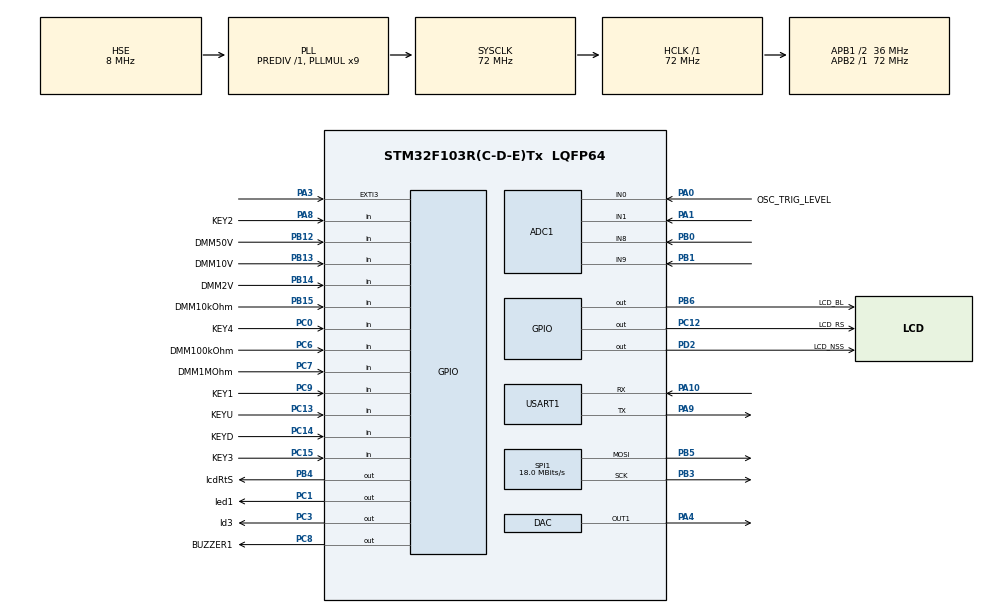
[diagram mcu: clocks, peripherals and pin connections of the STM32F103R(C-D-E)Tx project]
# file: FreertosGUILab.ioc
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ADC1.Channel-1\#ChannelInjectedConversion=ADC_CHANNEL_9
ADC1.Channel-2\#ChannelInjectedConversion=ADC_CHANNEL_VREFINT
ADC1.Channel-3\#ChannelInjectedConversion=ADC_CHANNEL_8
ADC1.Channel-4\#ChannelInjectedConversion=ADC_CHANNEL_0
ADC1.Channel-5\#ChannelRegularConversion=ADC_CHANNEL_1
ADC1.EnableInjectedConversion=ENABLE
ADC1.EnableRegularConversion=ENABLE
ADC1.ExternalTrigConv=ADC_EXTERNALTRIGCONV_T3_TRGO
ADC1.ExternalTrigInjecConv=ADC_EXTERNALTRIGINJECCONV_T2_TRGO
ADC1.InjNumberOfConversion=4
ADC1.InjectedOffset-1\#ChannelInjectedConversion=0
ADC1.InjectedOffset-2\#ChannelInjectedConversion=0
ADC1.InjectedOffset-3\#ChannelInjectedConversion=0
ADC1.InjectedOffset-4\#ChannelInjectedConversion=0
ADC1.InjectedRank-1\#ChannelInjectedConversion=1
ADC1.InjectedRank-2\#ChannelInjectedConversion=2
ADC1.InjectedRank-3\#ChannelInjectedConversion=3
ADC1.InjectedRank-4\#ChannelInjectedConversion=4
ADC1.NbrOfConversion=1
ADC1.NbrOfConversionFlag=1
ADC1.Rank-5\#ChannelRegularConversion=1
ADC1.SamplingTime-1\#ChannelInjectedConversion=ADC_SAMPLETIME_1CYCLE_5
ADC1.SamplingTime-2\#ChannelInjectedConversion=ADC_SAMPLETIME_239CYCLES_5
ADC1.SamplingTime-3\#ChannelInjectedConversion=ADC_SAMPLETIME_1CYCLE_5
ADC1.SamplingTime-4\#ChannelInjectedConversion=ADC_SAMPLETIME_239CYCLES_5
ADC1.SamplingTime-5\#ChannelRegularConversion=ADC_SAMPLETIME_1CYCLE_5
ADC1.master=1
DAC.DAC_OutputBuffer=DAC_OUTPUTBUFFER_DISABLE
DAC.DAC_Trigger=DAC_TRIGGER_T5_TRGO
Dma.ADC1.2.Direction=DMA_PERIPH_TO_MEMORY
Dma.ADC1.2.Instance=DMA1_Channel1
Dma.ADC1.2.MemDataAlignment=DMA_MDATAALIGN_HALFWORD
Dma.ADC1.2.MemInc=DMA_MINC_ENABLE
Dma.ADC1.2.Mode=DMA_NORMAL
Dma.ADC1.2.PeriphDataAlignment=DMA_PDATAALIGN_HALFWORD
Dma.ADC1.2.PeriphInc=DMA_PINC_DISABLE
Dma.ADC1.2.Priority=DMA_PRIORITY_LOW
Dma.Request0=USART1_TX
Dma.Request1=SPI1_TX
Dma.Request2=ADC1
Dma.SPI1_TX.1.Direction=DMA_MEMORY_TO_PERIPH
Dma.SPI1_TX.1.Instance=DMA1_Channel3
Dma.SPI1_TX.1.MemDataAlignment=DMA_MDATAALIGN_BYTE
Dma.SPI1_TX.1.MemInc=DMA_MINC_ENABLE
Dma.SPI1_TX.1.Mode=DMA_NORMAL
Dma.SPI1_TX.1.PeriphDataAlignment=DMA_PDATAALIGN_BYTE
Dma.SPI1_TX.1.PeriphInc=DMA_PINC_DISABLE
Dma.SPI1_TX.1.Priority=DMA_PRIORITY_LOW
Dma.USART1_TX.0.Direction=DMA_MEMORY_TO_PERIPH
Dma.USART1_TX.0.Instance=DMA1_Channel4
Dma.USART1_TX.0.MemDataAlignment=DMA_MDATAALIGN_BYTE
Dma.USART1_TX.0.MemInc=DMA_MINC_ENABLE
Dma.USART1_TX.0.Mode=DMA_NORMAL
Dma.USART1_TX.0.PeriphDataAlignment=DMA_PDATAALIGN_BYTE
Dma.USART1_TX.0.PeriphInc=DMA_PINC_DISABLE
Dma.USART1_TX.0.Priority=DMA_PRIORITY_LOW
Mcu.Family=STM32F1
Mcu.Name=STM32F103R(C-D-E)Tx
Mcu.Package=LQFP64
NVIC.ADC1_2_IRQn=true\:15\:0\:true\:false\:true\:true\:true\:true
NVIC.DMA1_Channel1_IRQn=true\:6\:0\:true\:false\:true\:false\:true\:true
NVIC.DMA1_Channel3_IRQn=true\:5\:0\:true\:false\:true\:false\:true\:true
NVIC.DMA1_Channel4_IRQn=true\:5\:0\:true\:false\:true\:false\:true\:true
NVIC.EXTI3_IRQn=true\:5\:0\:true\:false\:true\:true\:true\:true
NVIC.PriorityGroup=NVIC_PRIORITYGROUP_4
NVIC.TIM6_IRQn=true\:15\:0\:false\:false\:true\:false\:true\:true
NVIC.TimeBase=TIM6_IRQn
NVIC.TimeBaseIP=TIM6
NVIC.USART1_IRQn=true\:5\:0\:true\:false\:true\:true\:true\:true
PA0-WKUP.GPIO_Label=OSC_TRIG_LEVEL
PA0-WKUP.Signal=ADCx_IN0
PA1.Signal=ADCx_IN1
PA10.Mode=Asynchronous
PA10.Signal=USART1_RX
PA13.Mode=Serial_Wire
PA13.Signal=SYS_JTMS-SWDIO
PA14.Mode=Serial_Wire
PA14.Signal=SYS_JTCK-SWCLK
PA3.Signal=GPXTI3
PA4.Signal=COMP_DAC1_group
PA8.GPIO_Label=KEY2
PA8.GPIO_PuPd=GPIO_PULLUP
PA8.Signal=GPIO_Input
PA9.Mode=Asynchronous
PA9.Signal=USART1_TX
PB0.Signal=ADCx_IN8
PB1.Signal=ADCx_IN9
PB12.GPIO_Label=DMM50V
PB12.GPIO_PuPd=GPIO_PULLDOWN
PB12.Signal=GPIO_Input
PB13.GPIO_Label=DMM10V
PB13.GPIO_PuPd=GPIO_PULLDOWN
PB13.Signal=GPIO_Input
PB14.GPIO_Label=DMM2V
PB14.GPIO_PuPd=GPIO_PULLDOWN
PB14.Signal=GPIO_Input
PB15.GPIO_Label=DMM10kOhm
PB15.GPIO_PuPd=GPIO_PULLDOWN
PB15.Signal=GPIO_Input
PB3.Mode=TX_Only_Simplex_Unidirect_Master
PB3.Signal=SPI1_SCK
PB4.GPIO_Label=lcdRtS
PB4.Signal=GPIO_Output
PB5.Mode=TX_Only_Simplex_Unidirect_Master
PB5.Signal=SPI1_MOSI
PB6.GPIO_Label=LCD_BL
PB6.GPIO_ModeDefaultOutputPP=GPIO_MODE_OUTPUT_PP
PB6.GPIO_PuPd=GPIO_NOPULL
PB6.Signal=GPIO_Output
PC0.GPIO_Label=KEY4
PC0.GPIO_PuPd=GPIO_PULLUP
PC0.Signal=GPIO_Input
PC1.GPIO_Label=led1
PC1.Signal=GPIO_Output
PC12.GPIO_Label=LCD_RS
PC12.Signal=GPIO_Output
PC13-TAMPER-RTC.GPIO_Label=KEYU 
PC13-TAMPER-RTC.GPIO_PuPd=GPIO_PULLUP
PC13-TAMPER-RTC.Signal=GPIO_Input
PC14-OSC32_IN.GPIO_Label=KEYD
PC14-OSC32_IN.GPIO_PuPd=GPIO_PULLUP
PC14-OSC32_IN.Signal=GPIO_Input
PC15-OSC32_OUT.GPIO_Label=KEY3
PC15-OSC32_OUT.GPIO_PuPd=GPIO_PULLUP
PC15-OSC32_OUT.Signal=GPIO_Input
PC3.GPIO_Label=ld3
PC3.Signal=GPIO_Output
PC6.GPIO_Label=DMM100kOhm
PC6.GPIO_PuPd=GPIO_PULLDOWN
PC6.Signal=GPIO_Input
PC7.GPIO_Label=DMM1MOhm
PC7.GPIO_PuPd=GPIO_PULLDOWN
PC7.Signal=GPIO_Input
PC8.GPIO_Label=BUZZER1
PC8.GPIO_PuPd=GPIO_NOPULL
PC8.Signal=GPIO_Output
PC9.GPIO_Label=KEY1 
PC9.GPIO_PuPd=GPIO_PULLUP
PC9.Signal=GPIO_Input
PD0-OSC_IN.Mode=HSE-External-Oscillator
PD0-OSC_IN.Signal=RCC_OSC_IN
PD1-OSC_OUT.Mode=HSE-External-Oscillator
PD1-OSC_OUT.Signal=RCC_OSC_OUT
PD2.GPIO_Label=LCD_NSS
PD2.PinState=GPIO_PIN_SET
PD2.Signal=GPIO_Output
ProjectManager.HeapSize=0x200
ProjectManager.StackSize=0x400
ProjectManager.TargetToolchain=CMake
RCC.ADCPresc=RCC_ADCPCLK2_DIV6
RCC.AHBFreq_Value=72000000
RCC.APB1CLKDivider=RCC_HCLK_DIV2
RCC.APB1Freq_Value=36000000
RCC.APB1TimFreq_Value=72000000
RCC.APB2Freq_Value=72000000
RCC.APB2TimFreq_Value=72000000
RCC.HCLKFreq_Value=72000000
RCC.PLLMUL=RCC_PLL_MUL9
RCC.PLLSourceVirtual=RCC_PLLSOURCE_HSE
RCC.SYSCLKFreq_VALUE=72000000
RCC.SYSCLKSource=RCC_SYSCLKSOURCE_PLLCLK
RCC.USBFreq_Value=72000000
SH.ADCx_IN0.0=ADC1_IN0,IN0
SH.ADCx_IN1.0=ADC1_IN1,IN1
SH.ADCx_IN8.0=ADC1_IN8,IN8
SH.ADCx_IN9.0=ADC1_IN9,IN9
SH.COMP_DAC1_group.0=DAC_OUT1,DAC_OUT1
SPI1.BaudRatePrescaler=SPI_BAUDRATEPRESCALER_4
SPI1.CalculateBaudRate=18.0 MBits/s
SPI1.Direction=SPI_DIRECTION_2LINES
SPI1.Mode=SPI_MODE_MASTER
SPI1.VirtualType=VM_MASTER
TIM2.Period=999
TIM2.Prescaler=7199
TIM2.TIM_MasterOutputTrigger=TIM_TRGO_UPDATE
TIM3.AutoReloadPreload=TIM_AUTORELOAD_PRELOAD_ENABLE
TIM3.Period=563
TIM3.Prescaler=0
TIM3.TIM_MasterOutputTrigger=TIM_TRGO_UPDATE
TIM5.Period=1
TIM5.Prescaler=71
TIM5.TIM_MasterOutputTrigger=TIM_TRGO_UPDATE
USART1.VirtualMode=VM_ASYNC
VP_ADC1_Vref_Input.Mode=IN-Vrefint
VP_IWDG_VS_IWDG.Mode=IWDG_Activate
VP_SYS_VS_tim6.Mode=TIM6
VP_TIM2_VS_ClockSourceINT.Mode=Internal
VP_TIM3_VS_ClockSourceINT.Mode=Internal
VP_TIM5_VS_ClockSourceINT.Mode=Internal
board=custom

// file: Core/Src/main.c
/* USER CODE BEGIN Header */
/**
  ******************************************************************************
  * @file           : main.c
  * @brief          : Main program body
  ******************************************************************************
  * @attention
  *
  * Copyright (c) 2026 STMicroelectronics.
  * All rights reserved.
  *
  * This software is licensed under terms that can be found in the LICENSE file
  * in the root directory of this software component.
  * If no LICENSE file comes with this software, it is provided AS-IS.
  *
  ******************************************************************************
  */
/* USER CODE END Header */
#include "main.h"

/* USER CODE BEGIN Includes */
#include "FreeRTOS.h"          // 必须是最先被包含的 FreeRTOS 头文件
#include "projdefs.h"
#include "stm32f1xx_hal_def.h"
#include "stm32f1xx_hal_gpio.h"
#include "stm32f1xx_hal_spi.h"
#include "task.h"              // 如果需要任务
#include "timers.h"            // 然后才是其他组件
#include "event_groups.h"      // 然后才是其他组件
#include "queue.h"
#include "memory_monitor.h"
#include "app_usart1_dma.h"
#include "dmm.h"
#include "bmcore.h"
#include "waveFormCapture.h"
#include "waveform_generator.h"
#include <string.h>
#ifdef BM_BAREMETAL
#include <stdio.h>
#include <stdarg.h>
#endif
#include "keyTask.h"
#include "LCD_TASK.h"
/* USER CODE END Includes */

/* USER CODE BEGIN PD */
#define LED1port GPIOC
#define LED3port GPIOC
#define led1PIN  GPIO_PIN_1
#define led3PIN  GPIO_PIN_3

/* 各任务栈深度（单位：字）。
 * 创建任务与内存监控注册必须用同一个值：监控要算"剩余百分比"，
 * 靠的就是申请栈深度；两处各写一个数字，改一处忘另一处，百分比就失真了。 */
#define TASK_STACK_KEY_SCAN     128
#define TASK_STACK_KEY_WORK     128
#define TASK_STACK_LED1         128
#define TASK_STACK_LCD          256
/* UART1 守门员任务由 App_USART1_Init() 内部创建，栈深度固定 256（见 app_usart1_dma.c） */
#define TASK_STACK_UART1_TX     256
/* 浮点换算任务的深度由 DmmAndGui/waveFormCapture.h 里的 WAVE_CAPTURE_TASK_STACK_WORDS 统一定义 */

/* 启动版本行：串口 115200 输出的第一行，用于确认烧进去的是哪次构建 */
#define FW_VERSION  "0.1.0"
/* USER CODE END PD */

ADC_HandleTypeDef hadc1;
DMA_HandleTypeDef hdma_adc1;

DAC_HandleTypeDef hdac;

IWDG_HandleTypeDef hiwdg;

SPI_HandleTypeDef hspi1;
DMA_HandleTypeDef hdma_spi1_tx;

TIM_HandleTypeDef htim2;
TIM_HandleTypeDef htim3;
TIM_HandleTypeDef htim5;

UART_HandleTypeDef huart1;
DMA_HandleTypeDef hdma_usart1_tx;

void SystemClock_Config(void);
static void MX_GPIO_Init(void);
static void MX_DMA_Init(void);
static void MX_USART1_UART_Init(void);
static void MX_SPI1_Init(void);
static void MX_ADC1_Init(void);
static void MX_TIM2_Init(void);
static void MX_TIM3_Init(void);
static void MX_DAC_Init(void);
static void MX_TIM5_Init(void);
static void MX_IWDG_Init(void);

/* USER CODE BEGIN 0 */
/* 读 RCC->CSR 的复位标志。标志是粘滞的，调用方读完要 __HAL_RCC_CLEAR_RESET_FLAGS()，
 * 否则下一次复位会把上次的原因一起带出来。 */
static const char *pcResetCause(void)
{
    uint32_t csr = RCC->CSR;
    if (csr & RCC_CSR_IWDGRSTF) return "IWDG";
    if (csr & RCC_CSR_WWDGRSTF) return "WWDG";
    if (csr & RCC_CSR_LPWRRSTF) return "LPWR";
    if (csr & RCC_CSR_SFTRSTF)  return "SOFT";
    if (csr & RCC_CSR_PORRSTF)  return "POR";
    if (csr & RCC_CSR_PINRSTF)  return "PIN";
    return "UNKNOWN";
}

/* ====================== 【调试练习】故意制造一次 HardFault ======================
 * 目的：练习读 stm32f1xx_it.c 里 hardfault_dump() 抓到的那一堆寄存器。
 *
 * 玩法：
 *   1) 保持下面宏 = 1，编译烧写。上电约 1 秒后程序会停死（LED 不再闪）。
 *   2) 调试器里按"暂停"，你会停在 hardfault_dump() 的 while(1) 上（看调用栈就知道）。
 *   3) 打开 Watch / Live Watch，逐个看这几个全局变量：
 *        hf_pc         → 出错的那条指令地址（最关键）
 *        hf_lr         → 出错函数的返回地址，即"谁调用了它"
 *        hf_r0 ~ hf_r3 → 里面有一个等于刚才那个"坏地址"
 *        hf_psr        → 低 9 位是异常号
 *        hf_exc_return → 0xFFFFFFFD 表示崩在任务里（读的是 PSP）
 *        hf_cfsr       → 告诉你"为什么崩"（PRECISERR / UNALIGNED / ...）
 *        hf_bfar       → 出错时想访问的那个地址
 *   4) 拿 hf_pc 去查源文件行号：
 *        arm-none-eabi-addr2line -e build/Debug/FreertosGUILab.elf -f -C 0x08xxxxxx
 *      （或在 IDE 反汇编窗口 Ctrl+G 跳到该地址）
 *   5) 定位到下面那一行之后，把宏改成 0，重新编译即可恢复正常。
 *
 * 提示：先自己想，别急着往下看注释里写的答案。
 * ============================================================================ */
#define EXERCISE_CRASH_ENABLE   0

#if EXERCISE_CRASH_ENABLE
static void vExercise_Crash(void)
{
    /* 0x30000000 在 STM32F103 的存储映射里没有对应外设/内存 → 写它必然触发
     * BusFault。实测为"不精确错误(IMPRECISERR, CFSR=0x400)"：写缓冲把错误延迟
     * 上报，硬件来不及填 BFAR(BFARVALID=0)。找真凶：反汇编 hf_pc 附近的那条
     * STR，R3 里就是 0x30000000。 */
    volatile uint32_t *pBad = (volatile uint32_t *)0x30000000U;
    *pBad = 0x12345678U;     /* ← 出事的就是这一行 */
}
#endif

/* ==================== 【调试练习2】调用非法函数指针 → UsageFault ====================
 * 目的：和练习1对比——这次不是“数据/总线错误”，而是“用法错误(UsageFault)”。
 * 玩法：
 *   1) 保持 EXERCISE_JUMP_ENABLE=1，编译烧写。约 1 秒后程序停死（LED 不再闪）。
 *   2) 按暂停停在硬故障现场，Watch 看这几个：
 *        hf_psr        崩前 xPSR：看 bit24 T 位（0=非Thumb）；IPSR 是崩前异常号(线程=0)
 *        hf_cfsr       0x20000 = bit17 INVSTATE（试图进入非 Thumb 状态执行）
 *        hf_pc         → 反汇编/addr2line 看是哪次跳转闸的
 *        hf_lr         → 调用它的 vled1Task
 *   3) 关键区别点：这次 R3/PC 都像“正常地址”，靠 CFSR 的 INVSTATE(0x20000) + PC 偶数(bit0=0)
 *      才能认出是“用法错误”，不是去查“坏地址”。练的就是这个区分能力。
 * 提示：SHCSR 开了 USGFAULTENA 才能让 UsageFault 亲自接管（否则会升级成 HardFault，
 *      调试器寄存器视图里的当前 IPSR 就从 6 变回 3）。调试完把 EXERCISE_JUMP_ENABLE 改回 0。
 * ================================================================================= */
#define EXERCISE_JUMP_ENABLE   0

#if EXERCISE_JUMP_ENABLE
static void vExercise_JumpBad(void)
{
    /* 让 UsageFault 真正接管，这样 hf_psr 的 IPSR 才显示 6（否则升级成 HardFault=3） */
    SCB->SHCSR |= SCB_SHCSR_USGFAULTENA_Msk;

    /* 把一个“偶数地址(bit0=0,即非 Thumb)”当作函数调用。
     * Cortex-M3 只认 Thumb(bit0=1)，遇到 bit0=0 就报 INVSTATE。 */
    void (*pBad)(void) = (void (*)(void))0x20004e00U;
    pBad();
}
#endif

void vled1Task(void* pvparameters){
  (void)pvparameters;
  for(;;){
#if EXERCISE_CRASH_ENABLE
    /* 先延时 1 秒再崩，给你时间连上调试器 / 看清 LED 闪了一下才停 */
    vTaskDelay(pdMS_TO_TICKS(1000));
    vExercise_Crash();
#endif
#if EXERCISE_JUMP_ENABLE
    /* 先延时 1 秒再崩，给你时间连调试器 */
    vTaskDelay(pdMS_TO_TICKS(1000));
    vExercise_JumpBad();
#endif
    HAL_GPIO_WritePin(LED1port,led1PIN,GPIO_PIN_SET);
    vTaskDelay(pdMS_TO_TICKS(500));
    HAL_GPIO_WritePin(LED1port,led1PIN,GPIO_PIN_RESET);
    vTaskDelay(pdMS_TO_TICKS(1000));
  }
}
void vled3Task(void* pvparameters){
  (void)pvparameters;
  for(;;){

    HAL_GPIO_WritePin(LED3port,led3PIN,GPIO_PIN_SET);
    vTaskDelay(pdMS_TO_TICKS(500));
    HAL_GPIO_WritePin(LED3port,led3PIN,GPIO_PIN_RESET);
    vTaskDelay(pdMS_TO_TICKS(1000));
  }
}

//
// @作用：控制屏幕背光的点亮和熄灭
// @参数：On - 0熄灭，非0点亮
//

/* USER CODE END 0 */

#ifdef BM_BAREMETAL
// 裸机宿主的最小串口打印：阻塞发送，不依赖 FreeRTOS 打印队列
static void bm_uart_printf(const char *fmt, ...)
{
  char buf[128];
  va_list ap;
  va_start(ap, fmt);
  int n = vsnprintf(buf, sizeof(buf), fmt, ap);
  va_end(ap);

  if(n > 0)
  {
    if(n > (int)sizeof(buf) - 1) n = (int)sizeof(buf) - 1;
    HAL_UART_Transmit(&huart1, (uint8_t *)buf, (uint16_t)n, 100);
  }
}
#endif

int main(void)
{

  /* USER CODE BEGIN 1 */
#ifndef BM_BAREMETAL
  TaskHandle_t LED1 ;
  TaskHandle_t KEYSWORK;
  TaskHandle_t LCD;
  TaskHandle_t KEYSLOW;
#endif
  /* USER CODE END 1 */

  /* MCU Configuration--------------------------------------------------------*/

  /* Reset of all peripherals, Initializes the Flash interface and the Systick. */
  HAL_Init();

  /* Configure the system clock */
  SystemClock_Config();

  /* Initialize all configured peripherals */
  MX_GPIO_Init();
  MX_DMA_Init();
  MX_USART1_UART_Init();
  MX_SPI1_Init();
  MX_ADC1_Init();
  MX_TIM2_Init();
  MX_TIM3_Init();
  MX_DAC_Init();
  MX_TIM5_Init();
  /* IWDG 暂不启用：CubeMX 6.18 重新生成时自动勾上了看门狗，但全工程没有喂狗点，
   * 0.41s 就会复位一次，表现为 LCD 花屏 + 闪烁。若以后要用，需配套 HAL_IWDG_Refresh()。 */
  //MX_IWDG_Init();
  /* USER CODE BEGIN 2 */
#ifdef BM_BAREMETAL
  {
    const char *pcReset = pcResetCause();
    __HAL_RCC_CLEAR_RESET_FLAGS();
    bm_uart_printf("BM lab ver %s | build %s %s | reset %s\r\n",
                   FW_VERSION, __DATE__, __TIME__, pcReset);
  }

  vDMMInit();          // 只启动 ADC 注入 + DWT，不建邮箱
  VkeyTotalInit(NULL); // 初始化按键，不建 FreeRTOS 队列

  // FreeRTOS 的 SysTick 仍挂在向量表里，但没有调度器；关掉它，HAL 时基用 TIM6
  HAL_SuspendTick();

  uint32_t ulLastTick = HAL_GetTick();
  uint32_t ulLastPrint = ulLastTick;

  for (;;)
  {
    uint32_t ulNow = HAL_GetTick();

    // 1 ms 节拍：同一套 vBmCoreTick()，只是宿主从 RTOS 任务换成 main 循环
    while (ulLastTick != ulNow)
    {
      ulLastTick++;
      vBmCoreTick();
    }

    // 按键事件：裸机下不跑 UI 回调，只打印回调指针，证明 6 个键都能被扫描到
    job_t job;
    while (bmKeyPop(&job))
    {
      bm_uart_printf("key id=%u\r\n", (unsigned)job.id);
    }

    // DMM：新数据每 500 ms 打印一次
    DMMData_t dmm;
    if (xDMMTryGetData(&dmm) && (uint32_t)(ulNow - ulLastPrint) >= 500u)
    {
      ulLastPrint = ulNow;
      bm_uart_printf("DMM=%.3f V PWR=%.3f V TRIG=%.3f V\r\n",
                     dmm.fDMMValue, dmm.fVpwr, dmm.fTriggerLevel);
    }
  }
#else
  App_USART1_Init();
  /* 启动版本行：上电后串口第一行，先取复位原因再清标志 */
  {
    const char *pcReset = pcResetCause();
    __HAL_RCC_CLEAR_RESET_FLAGS();
    App_USART1_Printf("fw ver %s | build %s %s | reset %s\r\n",
                      FW_VERSION, __DATE__, __TIME__, pcReset);
  }
   vLCDEventGroupInit(); // 在调度器启动前静态创建 xEventLcd，避免 ADC 注入 ISR 提前使用 NULL
  vDMMInit();
  VkeyTotalInit(NULL);  // 创建 xKeysQue + 初始化按键，BmCore 10 ms 扫描前必须就绪
  vBmCoreInit();        // 域 A：1 ms 确定性节拍，10 ms 按键扫描 + 10 Hz DMM

  WaveCaptureInit(); // 波形捕捉器：双缓冲、三个软件定时器、浮点换算任务
  vWaveGenInit();    // 信号发生器：DAC + TIM5 + DMA2

  xTaskCreate(vKeyWorkerTask,"KEYIWORK",TASK_STACK_KEY_WORK,NULL,1,&KEYSWORK);//只有key1
  /* 慢按键队列 + 唯一执行者：KEYU/KEYD 共用。
   * 慢回调（重算波表、重启 DAC/TIM5、改时基）不占公共队列，也不会并发改硬件。
   * 队列必须在任务启动前建好，否则 KEYSLOW 第一次 xQueueReceive 就是空句柄。 */
  xSlowKeyQue = xQueueCreate(10,sizeof(job_t));
  configASSERT(xSlowKeyQue != NULL);
  xTaskCreate(vKeySlowTask,"KEYSLOW",TASK_STACK_KEY_SLOW,NULL,1,&KEYSLOW);
  xTaskCreate(vled1Task,"led1",TASK_STACK_LED1,NULL,1,&LED1);
  xTaskCreate(vLCDTask, "LCD", TASK_STACK_LCD, NULL, 1, &LCD); // 注意这里的任务栈大小设置为256
   //xTaskCreate(vDMMInit, "DMMIN", 256, NULL, 1, &LCD); // 注意这里的任务栈大小设置为256

  /* 注册内存监控名单。
   * 之前只有 LED1/LCD/串口/两个按键任务这 5 个"轻任务"，真正吃栈的两项反而漏了：
   *   - float_archIT：每帧对 1024 点做浮点换算，是示波器最重的业务任务；
   *   - KEYSLOW：KEYU/KEYD 慢回调的唯一执行者。
   * 注册时连同申请栈深度一起报进去，串口输出才能给出"剩余/总量 + 百分比"。 */
  vRegisterTaskForMonitoring(LED1,     TASK_STACK_LED1);//vDMMInit
  vRegisterTaskForMonitoring(LCD,      TASK_STACK_LCD);
  vRegisterTaskForMonitoring(usart1,   TASK_STACK_UART1_TX);
  vRegisterTaskForMonitoring(KEYSWORK, TASK_STACK_KEY_WORK);
  vRegisterTaskForMonitoring(KEYSLOW, TASK_STACK_KEY_SLOW);
  vRegisterTaskForMonitoring(xBmCoreGetTaskHandle(), BMCORE_TASK_STACK_WORDS);
  /* WaveCaptureInit() 在上面的初始化区就已创建该任务，这里取句柄注册 */
  vRegisterTaskForMonitoring(xWaveCaptureGetTaskHandle(), WAVE_CAPTURE_TASK_STACK_WORDS);

  vStartMemoryMonitor();
  vTaskStartScheduler();
#endif
  /* USER CODE END 2 */

  /* Infinite loop */
  while (1)
  {

  }
}

void SystemClock_Config(void)
{
  RCC_OscInitTypeDef RCC_OscInitStruct = {0};
  RCC_ClkInitTypeDef RCC_ClkInitStruct = {0};
  RCC_PeriphCLKInitTypeDef PeriphClkInit = {0};

  /** Initializes the RCC Oscillators according to the specified parameters
  * in the RCC_OscInitTypeDef structure.
  */
  RCC_OscInitStruct.OscillatorType = RCC_OSCILLATORTYPE_LSI|RCC_OSCILLATORTYPE_HSE;
  RCC_OscInitStruct.HSEState = RCC_HSE_ON;
  RCC_OscInitStruct.HSEPredivValue = RCC_HSE_PREDIV_DIV1;
  RCC_OscInitStruct.HSIState = RCC_HSI_ON;
  RCC_OscInitStruct.LSIState = RCC_LSI_ON;
  RCC_OscInitStruct.PLL.PLLState = RCC_PLL_ON;
  RCC_OscInitStruct.PLL.PLLSource = RCC_PLLSOURCE_HSE;
  RCC_OscInitStruct.PLL.PLLMUL = RCC_PLL_MUL9;
  if (HAL_RCC_OscConfig(&RCC_OscInitStruct) != HAL_OK)
  {
    Error_Handler();
  }

  /** Initializes the CPU, AHB and APB buses clocks
  */
  RCC_ClkInitStruct.ClockType = RCC_CLOCKTYPE_HCLK|RCC_CLOCKTYPE_SYSCLK
                              |RCC_CLOCKTYPE_PCLK1|RCC_CLOCKTYPE_PCLK2;
  RCC_ClkInitStruct.SYSCLKSource = RCC_SYSCLKSOURCE_PLLCLK;
  RCC_ClkInitStruct.AHBCLKDivider = RCC_SYSCLK_DIV1;
  RCC_ClkInitStruct.APB1CLKDivider = RCC_HCLK_DIV2;
  RCC_ClkInitStruct.APB2CLKDivider = RCC_HCLK_DIV1;

  if (HAL_RCC_ClockConfig(&RCC_ClkInitStruct, FLASH_LATENCY_2) != HAL_OK)
  {
    Error_Handler();
  }
  PeriphClkInit.PeriphClockSelection = RCC_PERIPHCLK_ADC;
  PeriphClkInit.AdcClockSelection = RCC_ADCPCLK2_DIV6;
  if (HAL_RCCEx_PeriphCLKConfig(&PeriphClkInit) != HAL_OK)
  {
    Error_Handler();
  }
}

static void MX_ADC1_Init(void)
{

  ADC_InjectionConfTypeDef sConfigInjected = {0};
  ADC_ChannelConfTypeDef sConfig = {0};

  /** Common config
  */
  hadc1.Instance = ADC1;
  hadc1.Init.ScanConvMode = ADC_SCAN_ENABLE;
  hadc1.Init.ContinuousConvMode = DISABLE;
  hadc1.Init.DiscontinuousConvMode = DISABLE;
  hadc1.Init.ExternalTrigConv = ADC_EXTERNALTRIGCONV_T3_TRGO;
  hadc1.Init.DataAlign = ADC_DATAALIGN_RIGHT;
  hadc1.Init.NbrOfConversion = 1;
  if (HAL_ADC_Init(&hadc1) != HAL_OK)
  {
    Error_Handler();
  }

  /** Configure Injected Channel
  */
  sConfigInjected.InjectedChannel = ADC_CHANNEL_9;
  sConfigInjected.InjectedRank = ADC_INJECTED_RANK_1;
  sConfigInjected.InjectedNbrOfConversion = 4;
  sConfigInjected.InjectedSamplingTime = ADC_SAMPLETIME_1CYCLE_5;
  sConfigInjected.ExternalTrigInjecConv = ADC_EXTERNALTRIGINJECCONV_T2_TRGO;
  sConfigInjected.AutoInjectedConv = DISABLE;
  sConfigInjected.InjectedDiscontinuousConvMode = DISABLE;
  sConfigInjected.InjectedOffset = 0;
  if (HAL_ADCEx_InjectedConfigChannel(&hadc1, &sConfigInjected) != HAL_OK)
  {
    Error_Handler();
  }

  /** Configure Injected Channel
  */
  sConfigInjected.InjectedChannel = ADC_CHANNEL_VREFINT;
  sConfigInjected.InjectedRank = ADC_INJECTED_RANK_2;
  sConfigInjected.InjectedSamplingTime = ADC_SAMPLETIME_239CYCLES_5;
  if (HAL_ADCEx_InjectedConfigChannel(&hadc1, &sConfigInjected) != HAL_OK)
  {
    Error_Handler();
  }

  /** Configure Injected Channel
  */
  sConfigInjected.InjectedChannel = ADC_CHANNEL_8;
  sConfigInjected.InjectedRank = ADC_INJECTED_RANK_3;
  sConfigInjected.InjectedSamplingTime = ADC_SAMPLETIME_1CYCLE_5;
  if (HAL_ADCEx_InjectedConfigChannel(&hadc1, &sConfigInjected) != HAL_OK)
  {
    Error_Handler();
  }

  /** Configure Injected Channel
  */
  sConfigInjected.InjectedChannel = ADC_CHANNEL_0;
  sConfigInjected.InjectedRank = ADC_INJECTED_RANK_4;
  sConfigInjected.InjectedSamplingTime = ADC_SAMPLETIME_239CYCLES_5;
  if (HAL_ADCEx_InjectedConfigChannel(&hadc1, &sConfigInjected) != HAL_OK)
  {
    Error_Handler();
  }

  /** Configure Regular Channel
  */
  sConfig.Channel = ADC_CHANNEL_1;
  sConfig.Rank = ADC_REGULAR_RANK_1;
  sConfig.SamplingTime = ADC_SAMPLETIME_1CYCLE_5;
  if (HAL_ADC_ConfigChannel(&hadc1, &sConfig) != HAL_OK)
  {
    Error_Handler();
  }

}

static void MX_DAC_Init(void)
{

  DAC_ChannelConfTypeDef sConfig = {0};

  /** DAC Initialization
  */
  hdac.Instance = DAC;
  if (HAL_DAC_Init(&hdac) != HAL_OK)
  {
    Error_Handler();
  }

  /** DAC channel OUT1 config
  */
  sConfig.DAC_Trigger = DAC_TRIGGER_T5_TRGO;
  sConfig.DAC_OutputBuffer = DAC_OUTPUTBUFFER_DISABLE;
  if (HAL_DAC_ConfigChannel(&hdac, &sConfig, DAC_CHANNEL_1) != HAL_OK)
  {
    Error_Handler();
  }

}

__attribute__((unused)) static void MX_IWDG_Init(void)
{

  hiwdg.Instance = IWDG;
  hiwdg.Init.Prescaler = IWDG_PRESCALER_4;
  hiwdg.Init.Reload = 4095;
  if (HAL_IWDG_Init(&hiwdg) != HAL_OK)
  {
    Error_Handler();
  }

}

static void MX_SPI1_Init(void)
{

  /* SPI1 parameter configuration*/
  hspi1.Instance = SPI1;
  hspi1.Init.Mode = SPI_MODE_MASTER;
  hspi1.Init.Direction = SPI_DIRECTION_2LINES;
  hspi1.Init.DataSize = SPI_DATASIZE_8BIT;
  hspi1.Init.CLKPolarity = SPI_POLARITY_LOW;
  hspi1.Init.CLKPhase = SPI_PHASE_1EDGE;
  hspi1.Init.NSS = SPI_NSS_SOFT;
  hspi1.Init.BaudRatePrescaler = SPI_BAUDRATEPRESCALER_4;
  hspi1.Init.FirstBit = SPI_FIRSTBIT_MSB;
  hspi1.Init.TIMode = SPI_TIMODE_DISABLE;
  hspi1.Init.CRCCalculation = SPI_CRCCALCULATION_DISABLE;
  hspi1.Init.CRCPolynomial = 10;
  if (HAL_SPI_Init(&hspi1) != HAL_OK)
  {
    Error_Handler();
  }

}

static void MX_TIM2_Init(void)
{

  TIM_ClockConfigTypeDef sClockSourceConfig = {0};
  TIM_MasterConfigTypeDef sMasterConfig = {0};

  htim2.Instance = TIM2;
  htim2.Init.Prescaler = 7199;
  htim2.Init.CounterMode = TIM_COUNTERMODE_UP;
  htim2.Init.Period = 999;
  htim2.Init.ClockDivision = TIM_CLOCKDIVISION_DIV1;
  htim2.Init.AutoReloadPreload = TIM_AUTORELOAD_PRELOAD_DISABLE;
  if (HAL_TIM_Base_Init(&htim2) != HAL_OK)
  {
    Error_Handler();
  }
  sClockSourceConfig.ClockSource = TIM_CLOCKSOURCE_INTERNAL;
  if (HAL_TIM_ConfigClockSource(&htim2, &sClockSourceConfig) != HAL_OK)
  {
    Error_Handler();
  }
  sMasterConfig.MasterOutputTrigger = TIM_TRGO_UPDATE;
  sMasterConfig.MasterSlaveMode = TIM_MASTERSLAVEMODE_DISABLE;
  if (HAL_TIMEx_MasterConfigSynchronization(&htim2, &sMasterConfig) != HAL_OK)
  {
    Error_Handler();
  }

}

static void MX_TIM3_Init(void)
{

  TIM_ClockConfigTypeDef sClockSourceConfig = {0};
  TIM_MasterConfigTypeDef sMasterConfig = {0};

  htim3.Instance = TIM3;
  htim3.Init.Prescaler = 0;
  htim3.Init.CounterMode = TIM_COUNTERMODE_UP;
  htim3.Init.Period = 563;
  htim3.Init.ClockDivision = TIM_CLOCKDIVISION_DIV1;
  htim3.Init.AutoReloadPreload = TIM_AUTORELOAD_PRELOAD_ENABLE;
  if (HAL_TIM_Base_Init(&htim3) != HAL_OK)
  {
    Error_Handler();
  }
  sClockSourceConfig.ClockSource = TIM_CLOCKSOURCE_INTERNAL;
  if (HAL_TIM_ConfigClockSource(&htim3, &sClockSourceConfig) != HAL_OK)
  {
    Error_Handler();
  }
  sMasterConfig.MasterOutputTrigger = TIM_TRGO_UPDATE;
  sMasterConfig.MasterSlaveMode = TIM_MASTERSLAVEMODE_DISABLE;
  if (HAL_TIMEx_MasterConfigSynchronization(&htim3, &sMasterConfig) != HAL_OK)
  {
    Error_Handler();
  }

}

static void MX_TIM5_Init(void)
{

  TIM_ClockConfigTypeDef sClockSourceConfig = {0};
  TIM_MasterConfigTypeDef sMasterConfig = {0};

  htim5.Instance = TIM5;
  htim5.Init.Prescaler = 71;
  htim5.Init.CounterMode = TIM_COUNTERMODE_UP;
  htim5.Init.Period = 1;
  htim5.Init.ClockDivision = TIM_CLOCKDIVISION_DIV1;
  htim5.Init.AutoReloadPreload = TIM_AUTORELOAD_PRELOAD_DISABLE;
  if (HAL_TIM_Base_Init(&htim5) != HAL_OK)
  {
    Error_Handler();
  }
  sClockSourceConfig.ClockSource = TIM_CLOCKSOURCE_INTERNAL;
  if (HAL_TIM_ConfigClockSource(&htim5, &sClockSourceConfig) != HAL_OK)
  {
    Error_Handler();
  }
  sMasterConfig.MasterOutputTrigger = TIM_TRGO_UPDATE;
  sMasterConfig.MasterSlaveMode = TIM_MASTERSLAVEMODE_DISABLE;
  if (HAL_TIMEx_MasterConfigSynchronization(&htim5, &sMasterConfig) != HAL_OK)
  {
    Error_Handler();
  }

}

static void MX_USART1_UART_Init(void)
{

  huart1.Instance = USART1;
  huart1.Init.BaudRate = 115200;
  huart1.Init.WordLength = UART_WORDLENGTH_8B;
  huart1.Init.StopBits = UART_STOPBITS_1;
  huart1.Init.Parity = UART_PARITY_NONE;
  huart1.Init.Mode = UART_MODE_TX_RX;
  huart1.Init.HwFlowCtl = UART_HWCONTROL_NONE;
  huart1.Init.OverSampling = UART_OVERSAMPLING_16;
  if (HAL_UART_Init(&huart1) != HAL_OK)
  {
    Error_Handler();
  }

}

static void MX_DMA_Init(void)
{

  /* DMA controller clock enable */
  __HAL_RCC_DMA1_CLK_ENABLE();

  /* DMA interrupt init */
  /* DMA1_Channel1_IRQn interrupt configuration */
  HAL_NVIC_SetPriority(DMA1_Channel1_IRQn, 6, 0);
  HAL_NVIC_EnableIRQ(DMA1_Channel1_IRQn);
  /* DMA1_Channel3_IRQn interrupt configuration */
  HAL_NVIC_SetPriority(DMA1_Channel3_IRQn, 5, 0);
  HAL_NVIC_EnableIRQ(DMA1_Channel3_IRQn);
  /* DMA1_Channel4_IRQn interrupt configuration */
  HAL_NVIC_SetPriority(DMA1_Channel4_IRQn, 5, 0);
  HAL_NVIC_EnableIRQ(DMA1_Channel4_IRQn);

}

static void MX_GPIO_Init(void)
{
  GPIO_InitTypeDef GPIO_InitStruct = {0};

  /* GPIO Ports Clock Enable */
  __HAL_RCC_GPIOC_CLK_ENABLE();
  __HAL_RCC_GPIOD_CLK_ENABLE();
  __HAL_RCC_GPIOA_CLK_ENABLE();
  __HAL_RCC_GPIOB_CLK_ENABLE();

  /*Configure GPIO pin Output Level */
  HAL_GPIO_WritePin(GPIOC, led1_Pin|ld3_Pin|BUZZER1_Pin|LCD_RS_Pin, GPIO_PIN_RESET);

  /*Configure GPIO pin Output Level */
  HAL_GPIO_WritePin(LCD_NSS_GPIO_Port, LCD_NSS_Pin, GPIO_PIN_SET);

  /*Configure GPIO pin Output Level */
  HAL_GPIO_WritePin(GPIOB, lcdRtS_Pin|LCD_BL_Pin, GPIO_PIN_RESET);

  /*Configure GPIO pins : KEYU_Pin KEYD_Pin KEY3_Pin KEY4_Pin
                           KEY1_Pin */
  GPIO_InitStruct.Pin = KEYU_Pin|KEYD_Pin|KEY3_Pin|KEY4_Pin
                          |KEY1_Pin;
  GPIO_InitStruct.Mode = GPIO_MODE_INPUT;
  GPIO_InitStruct.Pull = GPIO_PULLUP;
  HAL_GPIO_Init(GPIOC, &GPIO_InitStruct);

  /*Configure GPIO pins : led1_Pin ld3_Pin BUZZER1_Pin LCD_RS_Pin */
  GPIO_InitStruct.Pin = led1_Pin|ld3_Pin|BUZZER1_Pin|LCD_RS_Pin;
  GPIO_InitStruct.Mode = GPIO_MODE_OUTPUT_PP;
  GPIO_InitStruct.Pull = GPIO_NOPULL;
  GPIO_InitStruct.Speed = GPIO_SPEED_FREQ_LOW;
  HAL_GPIO_Init(GPIOC, &GPIO_InitStruct);

  /*Configure GPIO pin : PA3 */
  GPIO_InitStruct.Pin = GPIO_PIN_3;
  GPIO_InitStruct.Mode = GPIO_MODE_IT_RISING;
  GPIO_InitStruct.Pull = GPIO_NOPULL;
  HAL_GPIO_Init(GPIOA, &GPIO_InitStruct);

  /*Configure GPIO pins : DMM50V_Pin DMM10V_Pin DMM2V_Pin DMM10kOhm_Pin */
  GPIO_InitStruct.Pin = DMM50V_Pin|DMM10V_Pin|DMM2V_Pin|DMM10kOhm_Pin;
  GPIO_InitStruct.Mode = GPIO_MODE_INPUT;
  GPIO_InitStruct.Pull = GPIO_PULLDOWN;
  HAL_GPIO_Init(GPIOB, &GPIO_InitStruct);

  /*Configure GPIO pins : DMM100kOhm_Pin DMM1MOhm_Pin */
  GPIO_InitStruct.Pin = DMM100kOhm_Pin|DMM1MOhm_Pin;
  GPIO_InitStruct.Mode = GPIO_MODE_INPUT;
  GPIO_InitStruct.Pull = GPIO_PULLDOWN;
  HAL_GPIO_Init(GPIOC, &GPIO_InitStruct);

  /*Configure GPIO pin : KEY2_Pin */
  GPIO_InitStruct.Pin = KEY2_Pin;
  GPIO_InitStruct.Mode = GPIO_MODE_INPUT;
  GPIO_InitStruct.Pull = GPIO_PULLUP;
  HAL_GPIO_Init(KEY2_GPIO_Port, &GPIO_InitStruct);

  /*Configure GPIO pin : LCD_NSS_Pin */
  GPIO_InitStruct.Pin = LCD_NSS_Pin;
  GPIO_InitStruct.Mode = GPIO_MODE_OUTPUT_PP;
  GPIO_InitStruct.Pull = GPIO_NOPULL;
  GPIO_InitStruct.Speed = GPIO_SPEED_FREQ_LOW;
  HAL_GPIO_Init(LCD_NSS_GPIO_Port, &GPIO_InitStruct);

  /*Configure GPIO pins : lcdRtS_Pin LCD_BL_Pin */
  GPIO_InitStruct.Pin = lcdRtS_Pin|LCD_BL_Pin;
  GPIO_InitStruct.Mode = GPIO_MODE_OUTPUT_PP;
  GPIO_InitStruct.Pull = GPIO_NOPULL;
  GPIO_InitStruct.Speed = GPIO_SPEED_FREQ_LOW;
  HAL_GPIO_Init(GPIOB, &GPIO_InitStruct);

  /* EXTI interrupt init*/
  HAL_NVIC_SetPriority(EXTI3_IRQn, 5, 0);
  HAL_NVIC_EnableIRQ(EXTI3_IRQn);

}

/* USER CODE BEGIN 4 */
void vApplicationStackOverflowHook(TaskHandle_t xTask, char *pcTaskName)
{
    /* 在这里处理栈溢出错误，例如打印任务名、死循环或复位 */
    (void)xTask;          /* 避免未使用参数警告 */
    (void)pcTaskName;

    /* 简单示例：死循环等待调试器介入 */
    taskDISABLE_INTERRUPTS();
    for( ;; );
}
/* USER CODE END 4 */

void HAL_TIM_PeriodElapsedCallback(TIM_HandleTypeDef *htim)
{
  if (htim->Instance == TIM6)
  {
    HAL_IncTick();
  }
}

void Error_Handler(void)
{
  __disable_irq();
  while (1)
  {
  }
}
